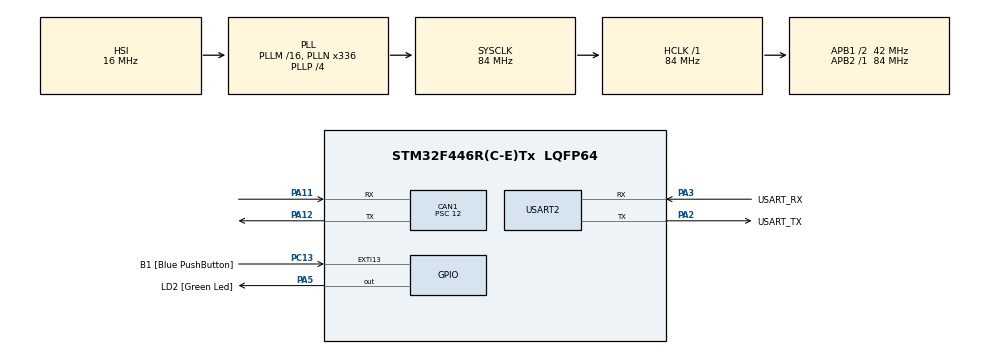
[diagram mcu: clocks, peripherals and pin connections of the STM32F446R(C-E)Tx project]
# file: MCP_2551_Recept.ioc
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CAN1.BS1=CAN_BS1_5TQ
CAN1.CalculateBaudRate=500000
CAN1.CalculateTimeBit=2000
CAN1.CalculateTimeQuantum=285.7142857142857
CAN1.Prescaler=12
Mcu.Family=STM32F4
Mcu.Name=STM32F446R(C-E)Tx
Mcu.Package=LQFP64
NVIC.CAN1_RX1_IRQn=true\:0\:0\:false\:false\:true\:true\:true\:true
NVIC.PriorityGroup=NVIC_PRIORITYGROUP_0
PA11.Mode=CAN_Activate
PA11.Signal=CAN1_RX
PA12.Mode=CAN_Activate
PA12.Signal=CAN1_TX
PA13.GPIO_Label=TMS
PA13.Mode=Serial_Wire
PA13.Signal=SYS_JTMS-SWDIO
PA14.GPIO_Label=TCK
PA14.Mode=Serial_Wire
PA14.Signal=SYS_JTCK-SWCLK
PA2.GPIO_Label=USART_TX
PA2.Mode=Asynchronous
PA2.Signal=USART2_TX
PA3.GPIO_Label=USART_RX
PA3.Mode=Asynchronous
PA3.Signal=USART2_RX
PA5.GPIO_Label=LD2 [Green Led]
PA5.Signal=GPIO_Output
PB3.GPIO_Label=SWO
PB3.Signal=SYS_JTDO-SWO
PC13.GPIO_Label=B1 [Blue PushButton]
PC13.GPIO_ModeDefaultEXTI=GPIO_MODE_IT_FALLING
PC13.Signal=GPXTI13
PC14-OSC32_IN.Mode=LSE-External-Oscillator
PC14-OSC32_IN.Signal=RCC_OSC32_IN
PC15-OSC32_OUT.Mode=LSE-External-Oscillator
PC15-OSC32_OUT.Signal=RCC_OSC32_OUT
PH0-OSC_IN.Mode=HSE-External-Oscillator
PH0-OSC_IN.Signal=RCC_OSC_IN
PH1-OSC_OUT.Mode=HSE-External-Oscillator
PH1-OSC_OUT.Signal=RCC_OSC_OUT
ProjectManager.HeapSize=0x200
ProjectManager.StackSize=0x400
ProjectManager.TargetToolchain=STM32CubeIDE
RCC.48MHZClocksFreq_Value=84000000
RCC.AHBFreq_Value=84000000
RCC.APB1CLKDivider=RCC_HCLK_DIV2
RCC.APB1Freq_Value=42000000
RCC.APB1TimFreq_Value=84000000
RCC.APB2Freq_Value=84000000
RCC.APB2TimFreq_Value=84000000
RCC.CortexFreq_Value=84000000
RCC.FLatency-AdvancedSettings=FLASH_LATENCY_2
RCC.HCLKFreq_Value=84000000
RCC.HSE_VALUE=8000000
RCC.HSI_VALUE=16000000
RCC.PLLN=336
RCC.PLLP=RCC_PLLP_DIV4
RCC.SYSCLKFreq_VALUE=84000000
RCC.SYSCLKSource=RCC_SYSCLKSOURCE_PLLCLK
RCC.USBFreq_Value=168000000
RCC.VCOOutputFreq_Value=336000000
USART2.VirtualMode=VM_ASYNC
board=NUCLEO-F446RE

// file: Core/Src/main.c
/* USER CODE BEGIN Header */
/**
  ******************************************************************************
  * @file           : main.c
  * @brief          : Main program body
  ******************************************************************************
  * @attention
  *
  * Copyright (c) 2023 STMicroelectronics.
  * All rights reserved.
  *
  * This software is licensed under terms that can be found in the LICENSE file
  * in the root directory of this software component.
  * If no LICENSE file comes with this software, it is provided AS-IS.
  *
  ******************************************************************************
  */
/* USER CODE END Header */
#include "main.h"

CAN_HandleTypeDef hcan1;

UART_HandleTypeDef huart2;

void SystemClock_Config(void);
static void MX_GPIO_Init(void);
static void MX_USART2_UART_Init(void);
static void MX_CAN1_Init(void);

/* USER CODE BEGIN 0 */
CAN_TxHeaderTypeDef TxHeader;
CAN_RxHeaderTypeDef RxHeader;

char TxData[8];
char RxData[8];

uint32_t TxMailbox;

int datacheck = 0;

void HAL_CAN_RxFifo1MsgPendingCallback(CAN_HandleTypeDef *hcan)
{
	HAL_CAN_GetRxMessage(hcan, CAN_RX_FIFO1, &RxHeader, RxData);
	if(RxHeader.DLC == 2)
	{
		datacheck  = 1;
	}
}
/* USER CODE END 0 */

int main(void)
{

  /* MCU Configuration--------------------------------------------------------*/

  /* Reset of all peripherals, Initializes the Flash interface and the Systick. */
  HAL_Init();

  /* Configure the system clock */
  SystemClock_Config();

  /* Initialize all configured peripherals */
  MX_GPIO_Init();
  MX_USART2_UART_Init();
  MX_CAN1_Init();
  /* USER CODE BEGIN 2 */
  HAL_CAN_Start(&hcan1);

  //Activate the notification
  HAL_CAN_ActivateNotification(&hcan1, CAN_IT_RX_FIFO1_MSG_PENDING);

  TxHeader.DLC  = 2; //Data length
  TxHeader.IDE = CAN_ID_STD;
  TxHeader.RTR = CAN_RTR_DATA;
  TxHeader.StdId = 0x103; //ID

  /* USER CODE END 2 */

  /* Infinite loop */
  while (1)
  {

    /* USER CODE BEGIN 3 */
	  if(datacheck)
	  {
		  for(int i = 0; i < RxData[1]; i++)
		  {
			  HAL_GPIO_TogglePin(LD2_GPIO_Port, LD2_Pin);
			  HAL_Delay(RxData[0]);
		  }

		  datacheck = 0;

		  HAL_CAN_AddTxMessage(&hcan1, &TxHeader, TxData, &TxMailbox);
	  }
  }
  /* USER CODE END 3 */
}

void SystemClock_Config(void)
{
  RCC_OscInitTypeDef RCC_OscInitStruct = {0};
  RCC_ClkInitTypeDef RCC_ClkInitStruct = {0};

  /** Configure the main internal regulator output voltage
  */
  __HAL_RCC_PWR_CLK_ENABLE();
  __HAL_PWR_VOLTAGESCALING_CONFIG(PWR_REGULATOR_VOLTAGE_SCALE3);

  /** Initializes the RCC Oscillators according to the specified parameters
  * in the RCC_OscInitTypeDef structure.
  */
  RCC_OscInitStruct.OscillatorType = RCC_OSCILLATORTYPE_HSI;
  RCC_OscInitStruct.HSIState = RCC_HSI_ON;
  RCC_OscInitStruct.HSICalibrationValue = RCC_HSICALIBRATION_DEFAULT;
  RCC_OscInitStruct.PLL.PLLState = RCC_PLL_ON;
  RCC_OscInitStruct.PLL.PLLSource = RCC_PLLSOURCE_HSI;
  RCC_OscInitStruct.PLL.PLLM = 16;
  RCC_OscInitStruct.PLL.PLLN = 336;
  RCC_OscInitStruct.PLL.PLLP = RCC_PLLP_DIV4;
  RCC_OscInitStruct.PLL.PLLQ = 2;
  RCC_OscInitStruct.PLL.PLLR = 2;
  if (HAL_RCC_OscConfig(&RCC_OscInitStruct) != HAL_OK)
  {
    Error_Handler();
  }

  /** Initializes the CPU, AHB and APB buses clocks
  */
  RCC_ClkInitStruct.ClockType = RCC_CLOCKTYPE_HCLK|RCC_CLOCKTYPE_SYSCLK
                              |RCC_CLOCKTYPE_PCLK1|RCC_CLOCKTYPE_PCLK2;
  RCC_ClkInitStruct.SYSCLKSource = RCC_SYSCLKSOURCE_PLLCLK;
  RCC_ClkInitStruct.AHBCLKDivider = RCC_SYSCLK_DIV1;
  RCC_ClkInitStruct.APB1CLKDivider = RCC_HCLK_DIV2;
  RCC_ClkInitStruct.APB2CLKDivider = RCC_HCLK_DIV1;

  if (HAL_RCC_ClockConfig(&RCC_ClkInitStruct, FLASH_LATENCY_2) != HAL_OK)
  {
    Error_Handler();
  }
}

static void MX_CAN1_Init(void)
{

  hcan1.Instance = CAN1;
  hcan1.Init.Prescaler = 12;
  hcan1.Init.Mode = CAN_MODE_NORMAL;
  hcan1.Init.SyncJumpWidth = CAN_SJW_1TQ;
  hcan1.Init.TimeSeg1 = CAN_BS1_5TQ;
  hcan1.Init.TimeSeg2 = CAN_BS2_1TQ;
  hcan1.Init.TimeTriggeredMode = DISABLE;
  hcan1.Init.AutoBusOff = DISABLE;
  hcan1.Init.AutoWakeUp = DISABLE;
  //hcan1.Init.AutoRetransmission = DBLE;
  hcan1.Init.ReceiveFifoLocked = DISABLE;
  //hcan1.Init.TransmitFISAifoPriority = DISABLE;
  if (HAL_CAN_Init(&hcan1) != HAL_OK)
  {
    Error_Handler();
  }
  /* USER CODE BEGIN CAN1_Init 2 */
  CAN_FilterTypeDef canfilterconfig;

  canfilterconfig.FilterActivation = CAN_FILTER_ENABLE;
  canfilterconfig.FilterBank = 18; //Wich filter bank to use from the assigned ones
  canfilterconfig.FilterFIFOAssignment = CAN_FILTER_FIFO1;
  canfilterconfig.FilterIdHigh = 0x446<<5;
  canfilterconfig.FilterIdLow = 0;
  canfilterconfig.FilterMaskIdHigh = 0x446<<5;
  canfilterconfig.FilterMaskIdLow = 0x0000;
  canfilterconfig.FilterMode = CAN_FILTERMODE_IDMASK;
  canfilterconfig.FilterScale = CAN_FILTERSCALE_32BIT;
  canfilterconfig.SlaveStartFilterBank = 0; // doesn't matter in single can controllers

  HAL_CAN_ConfigFilter(&hcan1, &canfilterconfig);
  /* USER CODE END CAN1_Init 2 */

}

static void MX_USART2_UART_Init(void)
{

  huart2.Instance = USART2;
  huart2.Init.BaudRate = 115200;
  huart2.Init.WordLength = UART_WORDLENGTH_8B;
  huart2.Init.StopBits = UART_STOPBITS_1;
  huart2.Init.Parity = UART_PARITY_NONE;
  huart2.Init.Mode = UART_MODE_TX_RX;
  huart2.Init.HwFlowCtl = UART_HWCONTROL_NONE;
  huart2.Init.OverSampling = UART_OVERSAMPLING_16;
  if (HAL_UART_Init(&huart2) != HAL_OK)
  {
    Error_Handler();
  }

}

static void MX_GPIO_Init(void)
{
  GPIO_InitTypeDef GPIO_InitStruct = {0};

  /* GPIO Ports Clock Enable */
  __HAL_RCC_GPIOC_CLK_ENABLE();
  __HAL_RCC_GPIOH_CLK_ENABLE();
  __HAL_RCC_GPIOA_CLK_ENABLE();
  __HAL_RCC_GPIOB_CLK_ENABLE();

  /*Configure GPIO pin Output Level */
  HAL_GPIO_WritePin(LD2_GPIO_Port, LD2_Pin, GPIO_PIN_RESET);

  /*Configure GPIO pin : B1_Pin */
  GPIO_InitStruct.Pin = B1_Pin;
  GPIO_InitStruct.Mode = GPIO_MODE_IT_FALLING;
  GPIO_InitStruct.Pull = GPIO_NOPULL;
  HAL_GPIO_Init(B1_GPIO_Port, &GPIO_InitStruct);

  /*Configure GPIO pin : LD2_Pin */
  GPIO_InitStruct.Pin = LD2_Pin;
  GPIO_InitStruct.Mode = GPIO_MODE_OUTPUT_PP;
  GPIO_InitStruct.Pull = GPIO_NOPULL;
  GPIO_InitStruct.Speed = GPIO_SPEED_FREQ_LOW;
  HAL_GPIO_Init(LD2_GPIO_Port, &GPIO_InitStruct);

}

void Error_Handler(void)
{
  __disable_irq();
  while (1)
  {
  }
}
